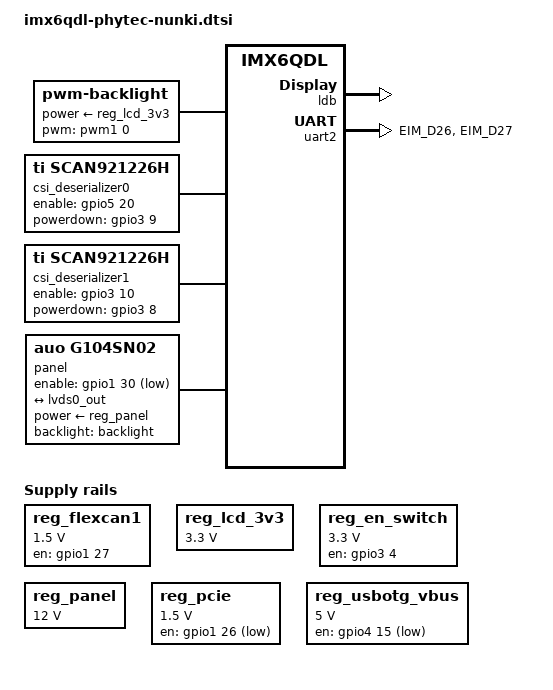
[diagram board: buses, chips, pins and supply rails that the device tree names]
// SPDX-License-Identifier: (GPL-2.0+ OR MIT)
/*
 * Copyright (C) 2018 PHYTEC Messtechnik GmbH
 * Author: Martin Podolszki <m.podolszki@phytec.de>
 */

#include <dt-bindings/leds/leds-pca9532.h>

/ {
	aliases {
		rtc0 = &i2c_rtc;
	};

	backlight: backlight {
		compatible = "pwm-backlight";
		brightness-levels = <0 4 8 16 32 64 128 255>;
		default-brightness-level = <7>;
		power-supply = <&reg_lcd_3v3>;
		pwms = <&pwm1 0 5000000 0>;
	};

	csi_deserializer0: csi-deserializer0 {
		compatible = "ti,scan921226h";
		pinctrl-names = "default";
		pinctrl-0 = <&pinctrl_csi_des0>;

		enable-gpios = <&gpio5 20 GPIO_ACTIVE_HIGH>;
		powerdown-gpios = <&gpio3 9 GPIO_ACTIVE_HIGH>;
	};

	csi_deserializer1: csi-deserializer1 {
		compatible = "ti,scan921226h";
		pinctrl-names = "default";
		pinctrl-0 = <&pinctrl_csi_des1>;

		enable-gpios = <&gpio3 10 GPIO_ACTIVE_HIGH>;
		powerdown-gpios = <&gpio3 8 GPIO_ACTIVE_HIGH>;
	};

	panel {
		compatible = "auo,g104sn02";
		pinctrl-names = "default";
		pinctrl-0 = <&pinctrl_panel_en>;
		power-supply = <&reg_panel>;
		enable-gpios = <&gpio1 30 GPIO_ACTIVE_LOW>;
		backlight = <&backlight>;

		port {
			panel_in: endpoint {
				remote-endpoint = <&lvds0_out>;
			};
		};
	};

	reg_flexcan1: regulator-flexcan1 {
		pinctrl-names = "default";
		pinctrl-0 = <&pinctrl_flexcan1_en>;
		compatible = "regulator-fixed";
		regulator-name = "flexcan1";
		regulator-min-microvolt = <1500000>;
		regulator-max-microvolt = <1500000>;
		gpio = <&gpio1 27 GPIO_ACTIVE_HIGH>;
		enable-active-high;
	};

	reg_lcd_3v3: regulator-lcd-3v3 {
		compatible = "regulator-fixed";
		regulator-name = "lcd_3v3";
		regulator-min-microvolt = <3300000>;
		regulator-max-microvolt = <3300000>;
		enable-active-high;
	};

	reg_en_switch: regulator-en-switch {
		pinctrl-names = "default";
		pinctrl-0 = <&pinctrl_en_switch>;
		compatible = "regulator-fixed";
		regulator-name = "Enable Switch";
		regulator-min-microvolt = <3300000>;
		regulator-max-microvolt = <3300000>;
		gpio = <&gpio3 4 GPIO_ACTIVE_HIGH>;
		regulator-always-on;
		enable-active-high;
	};

	reg_panel: regulator-panel {
		compatible = "regulator-fixed";
		regulator-name = "panel-power-supply";
		regulator-min-microvolt = <12000000>;
		regulator-max-microvolt = <12000000>;
		regulator-always-on;
	};

	reg_pcie: regulator-pcie {
		pinctrl-names = "default";
		pinctrl-0 = <&pinctrl_pcie_reg>;
		compatible = "regulator-fixed";
		regulator-name = "mPCIe_1V5";
		regulator-min-microvolt = <1500000>;
		regulator-max-microvolt = <1500000>;
		gpio = <&gpio1 26 GPIO_ACTIVE_HIGH>;
		regulator-always-on;
	};

	reg_usbotg_vbus: regulator-usbotg-vbus {
		pinctrl-names = "default";
		pinctrl-0 = <&pinctrl_usbotg_vbus>;
		compatible = "regulator-fixed";
		regulator-name = "usb_otg_vbus";
		regulator-min-microvolt = <5000000>;
		regulator-max-microvolt = <5000000>;
		gpio = <&gpio4 15 GPIO_ACTIVE_HIGH>;
	};
};

&can1 {
	pinctrl-names = "default";
	pinctrl-0 = <&pinctrl_flexcan1>;
	xceiver-supply = <&reg_flexcan1>;
	status = "disabled";
};

&hdmi {
	pinctrl-names = "default";
	pinctrl-0 = <&pinctrl_hdmicec>;
	ddc-i2c-bus = <&i2c2>;
	status = "disabled";
};

&i2c1 {

	pinctrl-names = "default", "gpio";
	pinctrl-0 = <&pinctrl_i2c1>;
	pinctrl-1 = <&pinctrl_i2c1_gpio>;
	scl-gpios = <&gpio3 21 (GPIO_ACTIVE_HIGH | GPIO_OPEN_DRAIN)>;
	sda-gpios = <&gpio3 28 (GPIO_ACTIVE_HIGH | GPIO_OPEN_DRAIN)>;
	clock-frequency = <100000>;
	status = "disabled";

	stmpe: touchctrl@44 {
		pinctrl-names = "default";
		pinctrl-0 = <&pinctrl_stmpe>;
		compatible = "st,stmpe811";
		reg = <0x44>;
		interrupts = <12 IRQ_TYPE_NONE>;
		interrupt-parent = <&gpio7>;
		status = "disabled";

		stmpe_touchscreen {
			compatible = "st,stmpe-ts";
			st,sample-time = <4>;
			st,mod-12b = <1>;
			st,ref-sel = <0>;
			st,adc-freq = <1>;
			st,ave-ctrl = <1>;
			st,touch-det-delay = <2>;
			st,settling = <2>;
			st,fraction-z = <7>;
			st,i-drive = <1>;
		};
	};

	pca9533: leddimmer@62 {
		compatible = "nxp,pca9533";
		reg = <0x62>;
		status = "disabled";

		led-red {
			label = "red:user1";
			type = <PCA9532_TYPE_LED>;
			linux,default-trigger = "none";
		};

		led-green {
			label = "green:user2";
			type = <PCA9532_TYPE_LED>;
			linux,default-trigger = "none";
		};

		led-blue {
			label = "blue:user3";
			type = <PCA9532_TYPE_LED>;
			linux,default-trigger = "mmc0";
			default-state = "on";
		};
        };

	i2c_rtc: rtc@68 {
		pinctrl-names = "default";
		pinctrl-0 = <&pinctrl_rtc_int>;
		compatible = "microcrystal,rv4162";
		reg = <0x68>;
		interrupt-parent = <&gpio7>;
		interrupts = <8 IRQ_TYPE_LEVEL_HIGH>;
		status = "disabled";
	};
};

&i2c2 {
	pinctrl-names = "default", "gpio";
	pinctrl-0 = <&pinctrl_i2c2>;
	pinctrl-1 = <&pinctrl_i2c2_gpio>;
	scl-gpios = <&gpio4 12 (GPIO_ACTIVE_HIGH | GPIO_OPEN_DRAIN)>;
	sda-gpios = <&gpio4 13 (GPIO_ACTIVE_HIGH | GPIO_OPEN_DRAIN)>;
	clock-frequency = <100000>;
	status = "disabled";
};

&iomuxc {
	pinctrl_csi_des0: csides0grp {
		fsl,pins = <
			MX6QDL_PAD_CSI0_DATA_EN__GPIO5_IO20	0x20b0
			MX6QDL_PAD_EIM_DA9__GPIO3_IO09		0x4000a0b0
		>;
	};

	pinctrl_csi_des1: csides1grp {
		fsl,pins = <
			MX6QDL_PAD_EIM_DA10__GPIO3_IO10		0xa0b0
			MX6QDL_PAD_EIM_DA8__GPIO3_IO08		0x4000a0b0
		>;
	};

	pinctrl_en_switch: enswitchgrp {
		fsl,pins = <
			MX6QDL_PAD_EIM_DA4__GPIO3_IO04		0xb0b1
		>;
	};

	pinctrl_flexcan1: flexcan1grp {
		fsl,pins = <
			MX6QDL_PAD_GPIO_7__FLEXCAN1_TX		0x1b008
			MX6QDL_PAD_GPIO_8__FLEXCAN1_RX		0x1b0b0
		>;
	};

	pinctrl_flexcan1_en: flexcan1engrp {
		fsl,pins = <
			MX6QDL_PAD_ENET_RXD0__GPIO1_IO27	0xb0b1
		>;
	};

	pinctrl_hdmicec: hdmicecgrp {
		fsl,pins = <
			MX6QDL_PAD_KEY_ROW2__HDMI_TX_CEC_LINE	0x1f8b0
		>;
	};

	pinctrl_i2c1: i2c1grp {
		fsl,pins = <
			MX6QDL_PAD_EIM_D21__I2C1_SCL		0x4001b8b1
			MX6QDL_PAD_EIM_D28__I2C1_SDA		0x4001b8b1
		>;
	};

	pinctrl_i2c1_gpio: i2c1gpiogrp {
		fsl,pins = <
			MX6QDL_PAD_EIM_D21__GPIO3_IO21		0x4001b8b1
			MX6QDL_PAD_EIM_D28__GPIO3_IO28		0x4001b8b1
		>;
	};

	pinctrl_i2c2: i2c2grp {
		fsl,pins = <
			MX6QDL_PAD_KEY_ROW3__I2C2_SDA		0x4001b8b1
			MX6QDL_PAD_KEY_COL3__I2C2_SCL		0x4001b8b1
		>;
	};

	pinctrl_i2c2_gpio: i2c2gpiogrp {
		fsl,pins = <
			MX6QDL_PAD_KEY_ROW3__GPIO4_IO13		0x4001b8b1
			MX6QDL_PAD_KEY_COL3__GPIO4_IO12		0x4001b8b1
		>;
	};

	pinctrl_panel_en: panelengrp {
		fsl,pins = <
			MX6QDL_PAD_ENET_TXD0__GPIO1_IO30	0xb0b1
		>;
	};

	pinctrl_pcie: pciegrp {
		fsl,pins = <
			MX6QDL_PAD_EIM_OE__GPIO2_IO25		0xb0b1
		>;
	};

	pinctrl_pcie_reg: pcievgrp {
		fsl,pins = <
			MX6QDL_PAD_ENET_RXD1__GPIO1_IO26	0xb0b1
		>;
	};

	pinctrl_pwm1: pwm1grp {
		fsl,pins = <
			MX6QDL_PAD_GPIO_9__PWM1_OUT		0x1b0b1
		>;
	};

	pinctrl_rtc_int: rtcintgrp {
		fsl,pins = <
			MX6QDL_PAD_SD3_RST__GPIO7_IO08		0x1b0b0
		>;
	};

	pinctrl_stmpe: stmpe {
		fsl,pins = <
			MX6QDL_PAD_GPIO_17__GPIO7_IO12		0x1b0b0
		>;
	};

	pinctrl_uart2: uart2grp {
		fsl,pins = <
			MX6QDL_PAD_EIM_D26__UART2_TX_DATA	0x1b088
			MX6QDL_PAD_EIM_D27__UART2_RX_DATA	0x1b0b1
		>;
	};

	pinctrl_uart3: uart3grp {
		fsl,pins = <
			MX6QDL_PAD_EIM_EB3__UART3_CTS_B		0x1b0b1
			MX6QDL_PAD_EIM_D23__UART3_RTS_B		0x1b0b1
			MX6QDL_PAD_EIM_D24__UART3_TX_DATA	0x1b0b1
			MX6QDL_PAD_EIM_D25__UART3_RX_DATA	0x1b0b1
		>;
	};

	pinctrl_usbh1: usbh1grp {
		fsl,pins = <
			MX6QDL_PAD_EIM_EB1__GPIO2_IO29		0xb0b1
		>;
	};

	pinctrl_usbotg: usbotggrp {
		fsl,pins = <
			MX6QDL_PAD_GPIO_1__USB_OTG_ID		0x17059
		>;
	};

	pinctrl_usbotg_vbus: usbotg-vbusgrp {
		fsl,pins = <
			MX6QDL_PAD_KEY_ROW4__GPIO4_IO15		0x1b0b0
		>;
	};

	pinctrl_usdhc1: usdhc1grp {
		fsl,pins = <
			MX6QDL_PAD_SD1_CMD__SD1_CMD		0x1b010
			MX6QDL_PAD_SD1_CLK__SD1_CLK		0x1b011
			MX6QDL_PAD_SD1_DAT0__SD1_DATA0		0x1b008
			MX6QDL_PAD_SD1_DAT1__SD1_DATA1		0x1b008
			MX6QDL_PAD_SD1_DAT2__SD1_DATA2		0x1b008
			MX6QDL_PAD_SD1_DAT3__SD1_DATA3		0x1b008
			MX6QDL_PAD_EIM_BCLK__GPIO6_IO31		0xb0b1 /* CD */
		>;
	};
};

&ldb {
	status = "okay";

	lvds-channel@0 {
		fsl,data-mapping = "spwg";
		fsl,data-width = <18>;
		status = "disabled";

		port@4 {
			reg = <4>;

			lvds0_out: endpoint {
				remote-endpoint = <&panel_in>;
			};
		};
	};
};

&pcie {
	pinctrl-names = "default";
	pinctrl-0 = <&pinctrl_pcie>;
	reset-gpio = <&gpio2 25 GPIO_ACTIVE_HIGH>;
	status = "disabled";
};

&pwm1 {
	#pwm-cells = <2>;
	pinctrl-names = "default";
	pinctrl-0 = <&pinctrl_pwm1>;
	status = "disabled";
};


&uart2 {
	pinctrl-names = "default";
	pinctrl-0 = <&pinctrl_uart2>;
	status = "okay";
};

&uart3 {
	pinctrl-names = "default";
	pinctrl-0 = <&pinctrl_uart3>;
	fsl,uart-has-rtscts;
	status = "disabled";
};

&usbh1 {
	pinctrl-names = "default";
	pinctrl-0 = <&pinctrl_usbh1>;
	disable-over-current;
	status = "disabled";
};

&usbotg {
	pinctrl-names = "default";
	pinctrl-0 = <&pinctrl_usbotg>;
	vbus-supply = <&reg_usbotg_vbus>;
	disable-over-current;
	dr_mode = "otg";
	status = "disabled";
};

&usdhc1 {
	pinctrl-names = "default";
	pinctrl-0 = <&pinctrl_usdhc1>;
	cd-gpios = <&gpio6 31 GPIO_ACTIVE_LOW>;
	no-1-8-v;
	disable-wp;
	status = "disabled";
};
